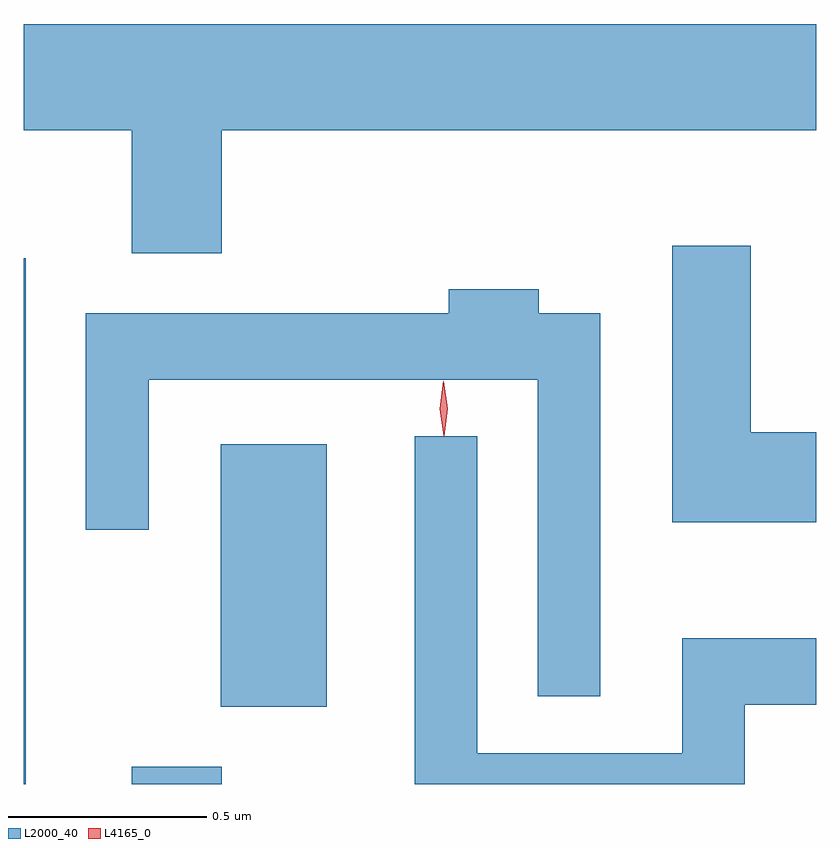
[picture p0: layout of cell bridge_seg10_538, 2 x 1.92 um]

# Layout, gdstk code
import gdstk
lib = gdstk.Library(unit=1e-6, precision=1e-09)
def R(c, l, rs):  # rectangles x0, y0, x1, y1
    for r in rs: c.add(gdstk.rectangle(r[:2], r[2:], *l))
def P(c, l, *ps):  # polygons
    for p in ps: c.add(gdstk.Polygon(p, *l))
L2000_40 = (2000, 40)
L4165_0 = (4165, 0)

bridge_seg10_538 = lib.new_cell('bridge_seg10_538')
R(bridge_seg10_538, L2000_40, [(878.179,2167.766,878.184,2169.093), (878.451,2167.766,878.679,2167.809), (878.676,2167.961,878.944,2168.624)])
P(bridge_seg10_538, L2000_40, [(878.679,2169.416),(880.179,2169.416),(880.179,2169.684),(878.179,2169.684),(878.179,2169.416),(878.451,2169.416),(878.451,2169.106),(878.679,2169.106)],
  [(880.179,2168.654),(880.014,2168.654),(880.014,2169.124),(879.816,2169.124),(879.816,2168.426),(880.179,2168.426)],
  [(879.634,2168.954),(879.479,2168.954),(879.479,2169.014),(879.251,2169.014),(879.251,2168.954),(878.336,2168.954),(878.336,2168.408),(878.494,2168.408),(878.494,2168.786),(879.476,2168.786),(879.476,2167.988),(879.634,2167.988)],
  [(879.999,2167.966),(880.179,2167.966),(880.179,2168.134),(879.841,2168.134),(879.841,2167.844),(879.324,2167.844),(879.324,2168.643),(879.166,2168.643),(879.166,2167.766),(879.999,2167.766)])
P(bridge_seg10_538, L4165_0, [(879.239,2168.644),(879.239,2168.644),(879.229,2168.713),(879.238,2168.782),(879.239,2168.783),(879.239,2168.782),(879.249,2168.713),(879.24,2168.644)],
  [(879.239,2168.647),(879.239,2168.648),(879.229,2168.713),(879.238,2168.78),(879.238,2168.78),(879.238,2168.78),(879.249,2168.714),(879.24,2168.648)])

lib.write_gds('bridge_seg10_538.gds')
